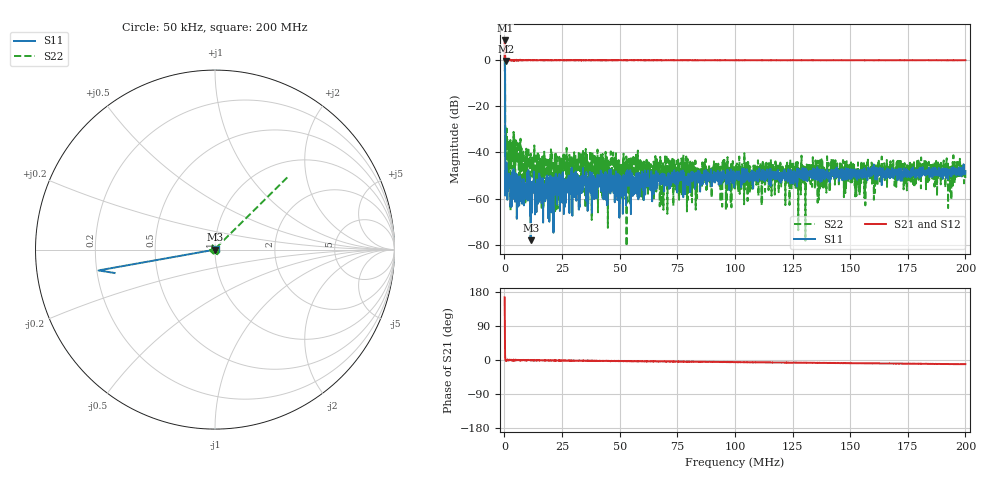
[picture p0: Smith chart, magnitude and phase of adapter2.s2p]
! 19-Feb-26 12:55:10 PM
! E:\VNA_MEASUREMENTS\RECBLOCK\ADAPTER2.S2P
! CHANNEL.1
! TR.MEASUREMENT
! CORRECTED.DATA
# GHZ S RI R 50.0
! FREQ.GHZ  S11RE  S11IM  S21RE  S21IM  S12RE  S12IM  S22RE  S22IM
!; PortSelection: Port_12
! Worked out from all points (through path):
!   2000 points, 50 kHz to 200 MHz, reference 50 ohm
!   highest |S21| = 8.54 dB at 150 kHz (marker M1); lowest = -0.4 dB at 750.2 kHz (marker M2)
!   lowest |S11| = -78.0 dB at 11.35 MHz (marker M3), VSWR 1.00, Z = 50 - j0.0112 ohm
!   |S11| at or under -10 dB: 261.6 kHz to end of sweep
!   |S22| runs from -80.6 to 7.7 dB; largest |S21 - S12| = 3.2
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5e-05  -1.471 1.081  -1.004 0.2619  -0.0232 -0.9105  -0.5129 -1.401
0.000150025  -0.5594 -0.1304  -1.093 2.44  0.6675 -0.2721  -2.199 1.038
0.000750175  -0.00446 0.00315  0.9584 0.000226  1.01 -0.00106  -0.0277 -0.00165
0.001350325  0.00122 -0.00303  1.022 0.0126  0.9979 -0.00355  0.0151 0.00916
0.002150525  0.00193 -0.00176  1.012 -0.00749  1.001 -0.00408  0.00782 -0.00392
0.01135283  5.66e-05 -0.000112  0.9875 -0.0184  0.9948 -0.00987  -0.00807 0.00401
0.01615403  0.000611 0.000577  1.001 -0.0197  1.003 -0.0185  -0.000501 -0.00028
0.01945485  -4.27e-05 -0.000314  0.9943 -0.0234  0.9954 -0.0194  -0.00157 0.00386
0.02235558  0.00102 0.00101  1.001 -0.0236  0.9963 -0.0238  0.000296 0.000506
0.03345835  0.00124 0.000454  0.9973 -0.033  1 -0.031  0.00187 0.00177
0.04436108  0.00161 0.000349  0.9929 -0.0356  0.9961 -0.0435  0.00382 -0.00469
0.04706176  0.00197 0.00191  0.99 -0.0483  0.9979 -0.0468  0.00673 0.00161
0.05396348  0.00249 0.00146  0.9966 -0.0476  0.997 -0.0519  -0.000841 -0.00107
0.05796448  0.00157 0.00111  0.9944 -0.0495  0.997 -0.0577  -0.00176 -0.00134
0.06676668  0.00193 0.0028  0.9937 -0.072  0.9965 -0.0653  0.00547 -0.00107
0.08397098  0.0016 0.00156  0.9961 -0.0857  0.995 -0.0857  0.00218 -0.00105
0.100075  0.00215 0.00158  0.9926 -0.0998  0.9931 -0.0972  0.000726 0.00141
0.1333833  0.00302 0.00198  0.9928 -0.1289  0.9874 -0.1272  0.000668 0.00347
0.1531883  0.00212 0.00236  0.9874 -0.1454  0.9873 -0.146  0.00182 0.00336
0.1666917  0.00175 0.00318  0.986 -0.1609  0.9799 -0.1571  0.00429 0.00145
0.1973994  0.00269 0.0024  0.9758 -0.1906  0.9806 -0.1885  0.00406 0.00469
0.2  0.00298 0.00256  0.982 -0.1885  0.9772 -0.1916  0.00257 -0.000268
